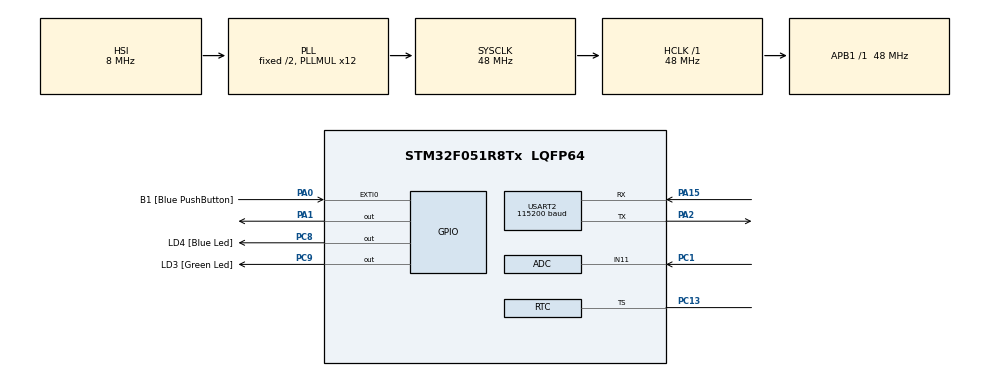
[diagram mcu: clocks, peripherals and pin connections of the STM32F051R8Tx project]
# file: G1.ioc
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FREERTOS.Tasks01=defaultTask,0,128,StartDefaultTask,Default,NULL,Dynamic,NULL,NULL;commsTask,-3,128,StartCommsTask,Default,NULL,Dynamic,NULL,NULL
Mcu.Family=STM32F0
Mcu.Name=STM32F051R8Tx
Mcu.Package=LQFP64
PA0.GPIO_Label=B1 [Blue PushButton]
PA0.GPIO_ModeDefaultEXTI=GPIO_MODE_EVT_RISING
PA0.Signal=GPXTI0
PA1.Signal=GPIO_Output
PA13.GPIO_Label=SWDIO
PA13.Mode=Serial_Wire
PA13.Signal=SYS_SWDIO
PA14.GPIO_Label=SWCLK
PA14.Mode=Serial_Wire
PA14.Signal=SYS_SWCLK
PA15.Mode=Asynchronous
PA15.Signal=USART2_RX
PA2.Mode=Asynchronous
PA2.Signal=USART2_TX
PC1.Mode=IN11
PC1.Signal=ADC_IN11
PC13.Mode=Timestamp enabled
PC13.Signal=RTC_TS
PC8.GPIO_Label=LD4 [Blue Led]
PC8.Signal=GPIO_Output
PC9.GPIO_Label=LD3 [Green Led]
PC9.Signal=GPIO_Output
ProjectManager.HeapSize=0x200
ProjectManager.StackSize=0x400
ProjectManager.TargetToolchain=STM32CubeIDE
RCC.AHBFreq_Value=48000000
RCC.APB1Freq_Value=48000000
RCC.APB1TimFreq_Value=48000000
RCC.HCLKFreq_Value=48000000
RCC.PLLMUL=RCC_PLL_MUL12
RCC.SYSCLKFreq_VALUE=48000000
RCC.SYSCLKSource=RCC_SYSCLKSOURCE_PLLCLK
RTC.Alarm-Alarm\ A=RTC_ALARM_A
TIM6.Prescaler=47
USART2.BaudRate=115200
USART2.VirtualMode-Asynchronous=VM_ASYNC
VP_FREERTOS_VS_CMSIS_V1.Mode=CMSIS_V1
VP_RTC_VS_RTC_Activate.Mode=RTC_Enabled
VP_RTC_VS_RTC_Alarm_A_Intern.Mode=Alarm A
VP_RTC_VS_RTC_Calendar.Mode=RTC_Calendar
VP_TIM6_VS_ClockSourceINT.Mode=Enable_Timer
board=STM32F0DISCOVERY

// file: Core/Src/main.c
/* USER CODE BEGIN Header */
/**
  ******************************************************************************
  * @file           : main.c
  * @brief          : Main program body
  ******************************************************************************
  * @attention
  *
  * Copyright (c) 2024 STMicroelectronics.
  * All rights reserved.
  *
  * This software is licensed under terms that can be found in the LICENSE file
  * in the root directory of this software component.
  * If no LICENSE file comes with this software, it is provided AS-IS.
  *
  ******************************************************************************
  */
/* USER CODE END Header */
#include "main.h"
#include "cmsis_os.h"

/* USER CODE BEGIN Includes */
#include "comms.h"
#include "stdio.h"
/* USER CODE END Includes */

ADC_HandleTypeDef hadc;

RTC_HandleTypeDef hrtc;

TIM_HandleTypeDef htim6;

UART_HandleTypeDef huart2;

osThreadId defaultTaskHandle;
osThreadId commsTaskHandle;

void SystemClock_Config(void);
static void MX_GPIO_Init(void);
static void MX_TIM6_Init(void);
static void MX_USART2_UART_Init(void);
static void MX_ADC_Init(void);
static void MX_RTC_Init(void);
void StartDefaultTask(void const * argument);
void StartCommsTask(void const * argument);

/* USER CODE BEGIN 0 */
char message[60];
uint16_t ADC_VAL[4];

// ######################## DHT11 ########################

void ADC_Select_Water_Level(void){
	ADC_ChannelConfTypeDef sConfig = {0};
	sConfig.Channel = ADC_CHANNEL_11;
	sConfig.Rank = 1;
	sConfig.SamplingTime = ADC_SAMPLETIME_1CYCLE_5;
	if (HAL_ADC_ConfigChannel(&hadc, &sConfig) != HAL_OK)
	{
		Error_Handler();
	}
}

void ADC_Select_Water_Temperature(void){
	ADC_ChannelConfTypeDef sConfig = {0};
	sConfig.Channel = ADC_CHANNEL_12;
	sConfig.Rank = 1;
	sConfig.SamplingTime = ADC_SAMPLETIME_1CYCLE_5;
	if (HAL_ADC_ConfigChannel(&hadc, &sConfig) != HAL_OK)
	{
		Error_Handler();
	}
}

void ADC_Select_Ambient_Light(void){
	ADC_ChannelConfTypeDef sConfig = {0};
	sConfig.Channel = ADC_CHANNEL_13;
	sConfig.Rank = 1;
	sConfig.SamplingTime = ADC_SAMPLETIME_1CYCLE_5;
	if (HAL_ADC_ConfigChannel(&hadc, &sConfig) != HAL_OK)
	{
		Error_Handler();
	}
}

/* USER CODE END 0 */

int main(void)
{

  /* MCU Configuration--------------------------------------------------------*/

  /* Reset of all peripherals, Initializes the Flash interface and the Systick. */
  HAL_Init();

  /* Configure the system clock */
  SystemClock_Config();

  /* Initialize all configured peripherals */
  MX_GPIO_Init();
  MX_TIM6_Init();
  MX_USART2_UART_Init();
  MX_ADC_Init();
  MX_RTC_Init();
  /* USER CODE BEGIN 2 */
  HAL_TIM_Base_Start(&htim6);

  /* USER CODE END 2 */

  /* Create the thread(s) */
  /* definition and creation of defaultTask */
  osThreadDef(defaultTask, StartDefaultTask, osPriorityNormal, 0, 128);
  defaultTaskHandle = osThreadCreate(osThread(defaultTask), NULL);

  /* definition and creation of commsTask */
  osThreadDef(commsTask, StartCommsTask, osPriorityIdle, 0, 128);
  commsTaskHandle = osThreadCreate(osThread(commsTask), NULL);

  /* Start scheduler */
  osKernelStart();

  /* We should never get here as control is now taken by the scheduler */

  /* Infinite loop */
  while (1)
  {

  }
}

void SystemClock_Config(void)
{
  RCC_OscInitTypeDef RCC_OscInitStruct = {0};
  RCC_ClkInitTypeDef RCC_ClkInitStruct = {0};
  RCC_PeriphCLKInitTypeDef PeriphClkInit = {0};

  /** Initializes the RCC Oscillators according to the specified parameters
  * in the RCC_OscInitTypeDef structure.
  */
  RCC_OscInitStruct.OscillatorType = RCC_OSCILLATORTYPE_HSI|RCC_OSCILLATORTYPE_HSI14
                              |RCC_OSCILLATORTYPE_LSI;
  RCC_OscInitStruct.HSIState = RCC_HSI_ON;
  RCC_OscInitStruct.HSI14State = RCC_HSI14_ON;
  RCC_OscInitStruct.HSICalibrationValue = RCC_HSICALIBRATION_DEFAULT;
  RCC_OscInitStruct.HSI14CalibrationValue = 16;
  RCC_OscInitStruct.LSIState = RCC_LSI_ON;
  RCC_OscInitStruct.PLL.PLLState = RCC_PLL_ON;
  RCC_OscInitStruct.PLL.PLLSource = RCC_PLLSOURCE_HSI;
  RCC_OscInitStruct.PLL.PLLMUL = RCC_PLL_MUL12;
  RCC_OscInitStruct.PLL.PREDIV = RCC_PREDIV_DIV1;
  if (HAL_RCC_OscConfig(&RCC_OscInitStruct) != HAL_OK)
  {
    Error_Handler();
  }

  /** Initializes the CPU, AHB and APB buses clocks
  */
  RCC_ClkInitStruct.ClockType = RCC_CLOCKTYPE_HCLK|RCC_CLOCKTYPE_SYSCLK
                              |RCC_CLOCKTYPE_PCLK1;
  RCC_ClkInitStruct.SYSCLKSource = RCC_SYSCLKSOURCE_PLLCLK;
  RCC_ClkInitStruct.AHBCLKDivider = RCC_SYSCLK_DIV1;
  RCC_ClkInitStruct.APB1CLKDivider = RCC_HCLK_DIV1;

  if (HAL_RCC_ClockConfig(&RCC_ClkInitStruct, FLASH_LATENCY_1) != HAL_OK)
  {
    Error_Handler();
  }
  PeriphClkInit.PeriphClockSelection = RCC_PERIPHCLK_RTC;
  PeriphClkInit.RTCClockSelection = RCC_RTCCLKSOURCE_LSI;
  if (HAL_RCCEx_PeriphCLKConfig(&PeriphClkInit) != HAL_OK)
  {
    Error_Handler();
  }
}

static void MX_ADC_Init(void)
{

  ADC_ChannelConfTypeDef sConfig = {0};

  /** Configure the global features of the ADC (Clock, Resolution, Data Alignment and number of conversion)
  */
  hadc.Instance = ADC1;
  hadc.Init.ClockPrescaler = ADC_CLOCK_ASYNC_DIV1;
  hadc.Init.Resolution = ADC_RESOLUTION_12B;
  hadc.Init.DataAlign = ADC_DATAALIGN_RIGHT;
  hadc.Init.ScanConvMode = ADC_SCAN_DIRECTION_FORWARD;
  hadc.Init.EOCSelection = ADC_EOC_SINGLE_CONV;
  hadc.Init.LowPowerAutoWait = DISABLE;
  hadc.Init.LowPowerAutoPowerOff = DISABLE;
  hadc.Init.ContinuousConvMode = DISABLE;
  hadc.Init.DiscontinuousConvMode = DISABLE;
  hadc.Init.ExternalTrigConv = ADC_SOFTWARE_START;
  hadc.Init.ExternalTrigConvEdge = ADC_EXTERNALTRIGCONVEDGE_NONE;
  hadc.Init.DMAContinuousRequests = DISABLE;
  hadc.Init.Overrun = ADC_OVR_DATA_PRESERVED;
  if (HAL_ADC_Init(&hadc) != HAL_OK)
  {
    Error_Handler();
  }

  /** Configure for the selected ADC regular channel to be converted.
  */
  sConfig.Channel = ADC_CHANNEL_11;
  sConfig.Rank = ADC_RANK_CHANNEL_NUMBER;
  sConfig.SamplingTime = ADC_SAMPLETIME_1CYCLE_5;
  if (HAL_ADC_ConfigChannel(&hadc, &sConfig) != HAL_OK)
  {
    Error_Handler();
  }

}

static void MX_RTC_Init(void)
{

  RTC_TimeTypeDef sTime = {0};
  RTC_DateTypeDef sDate = {0};
  RTC_AlarmTypeDef sAlarm = {0};

  /** Initialize RTC Only
  */
  hrtc.Instance = RTC;
  hrtc.Init.HourFormat = RTC_HOURFORMAT_24;
  hrtc.Init.AsynchPrediv = 127;
  hrtc.Init.SynchPrediv = 255;
  hrtc.Init.OutPut = RTC_OUTPUT_DISABLE;
  hrtc.Init.OutPutPolarity = RTC_OUTPUT_POLARITY_HIGH;
  hrtc.Init.OutPutType = RTC_OUTPUT_TYPE_OPENDRAIN;
  if (HAL_RTC_Init(&hrtc) != HAL_OK)
  {
    Error_Handler();
  }

  /** Initialize RTC and set the Time and Date
  */
  sTime.Hours = 0x0;
  sTime.Minutes = 0x0;
  sTime.Seconds = 0x0;
  sTime.DayLightSaving = RTC_DAYLIGHTSAVING_NONE;
  sTime.StoreOperation = RTC_STOREOPERATION_RESET;
  if (HAL_RTC_SetTime(&hrtc, &sTime, RTC_FORMAT_BCD) != HAL_OK)
  {
    Error_Handler();
  }
  sDate.WeekDay = RTC_WEEKDAY_MONDAY;
  sDate.Month = RTC_MONTH_JANUARY;
  sDate.Date = 0x1;
  sDate.Year = 0x0;

  if (HAL_RTC_SetDate(&hrtc, &sDate, RTC_FORMAT_BCD) != HAL_OK)
  {
    Error_Handler();
  }

  /** Enable the Alarm A
  */
  sAlarm.AlarmTime.Hours = 0x0;
  sAlarm.AlarmTime.Minutes = 0x0;
  sAlarm.AlarmTime.Seconds = 0x0;
  sAlarm.AlarmTime.SubSeconds = 0x0;
  sAlarm.AlarmTime.DayLightSaving = RTC_DAYLIGHTSAVING_NONE;
  sAlarm.AlarmTime.StoreOperation = RTC_STOREOPERATION_RESET;
  sAlarm.AlarmMask = RTC_ALARMMASK_NONE;
  sAlarm.AlarmSubSecondMask = RTC_ALARMSUBSECONDMASK_ALL;
  sAlarm.AlarmDateWeekDaySel = RTC_ALARMDATEWEEKDAYSEL_DATE;
  sAlarm.AlarmDateWeekDay = 0x1;
  sAlarm.Alarm = RTC_ALARM_A;
  if (HAL_RTC_SetAlarm(&hrtc, &sAlarm, RTC_FORMAT_BCD) != HAL_OK)
  {
    Error_Handler();
  }

  /** Enable the TimeStamp
  */
  if (HAL_RTCEx_SetTimeStamp(&hrtc, RTC_TIMESTAMPEDGE_RISING, RTC_TIMESTAMPPIN_DEFAULT) != HAL_OK)
  {
    Error_Handler();
  }

}

static void MX_TIM6_Init(void)
{

  TIM_MasterConfigTypeDef sMasterConfig = {0};

  htim6.Instance = TIM6;
  htim6.Init.Prescaler = 47;
  htim6.Init.CounterMode = TIM_COUNTERMODE_UP;
  htim6.Init.Period = 65535;
  htim6.Init.AutoReloadPreload = TIM_AUTORELOAD_PRELOAD_DISABLE;
  if (HAL_TIM_Base_Init(&htim6) != HAL_OK)
  {
    Error_Handler();
  }
  sMasterConfig.MasterOutputTrigger = TIM_TRGO_RESET;
  sMasterConfig.MasterSlaveMode = TIM_MASTERSLAVEMODE_DISABLE;
  if (HAL_TIMEx_MasterConfigSynchronization(&htim6, &sMasterConfig) != HAL_OK)
  {
    Error_Handler();
  }

}

static void MX_USART2_UART_Init(void)
{

  huart2.Instance = USART2;
  huart2.Init.BaudRate = 115200;
  huart2.Init.WordLength = UART_WORDLENGTH_8B;
  huart2.Init.StopBits = UART_STOPBITS_1;
  huart2.Init.Parity = UART_PARITY_NONE;
  huart2.Init.Mode = UART_MODE_TX_RX;
  huart2.Init.HwFlowCtl = UART_HWCONTROL_NONE;
  huart2.Init.OverSampling = UART_OVERSAMPLING_16;
  huart2.Init.OneBitSampling = UART_ONE_BIT_SAMPLE_DISABLE;
  huart2.AdvancedInit.AdvFeatureInit = UART_ADVFEATURE_NO_INIT;
  if (HAL_UART_Init(&huart2) != HAL_OK)
  {
    Error_Handler();
  }

}

static void MX_GPIO_Init(void)
{
  GPIO_InitTypeDef GPIO_InitStruct = {0};

  /* GPIO Ports Clock Enable */
  __HAL_RCC_GPIOC_CLK_ENABLE();
  __HAL_RCC_GPIOA_CLK_ENABLE();

  /*Configure GPIO pin Output Level */
  HAL_GPIO_WritePin(GPIOA, GPIO_PIN_1, GPIO_PIN_RESET);

  /*Configure GPIO pin Output Level */
  HAL_GPIO_WritePin(GPIOC, LD4_Pin|LD3_Pin, GPIO_PIN_RESET);

  /*Configure GPIO pin : B1_Pin */
  GPIO_InitStruct.Pin = B1_Pin;
  GPIO_InitStruct.Mode = GPIO_MODE_EVT_RISING;
  GPIO_InitStruct.Pull = GPIO_NOPULL;
  HAL_GPIO_Init(B1_GPIO_Port, &GPIO_InitStruct);

  /*Configure GPIO pin : PA1 */
  GPIO_InitStruct.Pin = GPIO_PIN_1;
  GPIO_InitStruct.Mode = GPIO_MODE_OUTPUT_PP;
  GPIO_InitStruct.Pull = GPIO_NOPULL;
  GPIO_InitStruct.Speed = GPIO_SPEED_FREQ_LOW;
  HAL_GPIO_Init(GPIOA, &GPIO_InitStruct);

  /*Configure GPIO pins : LD4_Pin LD3_Pin */
  GPIO_InitStruct.Pin = LD4_Pin|LD3_Pin;
  GPIO_InitStruct.Mode = GPIO_MODE_OUTPUT_PP;
  GPIO_InitStruct.Pull = GPIO_NOPULL;
  GPIO_InitStruct.Speed = GPIO_SPEED_FREQ_LOW;
  HAL_GPIO_Init(GPIOC, &GPIO_InitStruct);

}

void StartDefaultTask(void const * argument)
{
  for(;;)
  {
    osDelay(1);
  }
}

void StartCommsTask(void const * argument)
{
  /* USER CODE BEGIN StartCommsTask */
	comms_init(&huart2);
	HAL_GPIO_WritePin(LD3_GPIO_Port, LD3_Pin, 1);
	uint8_t data[2] = {10, 0};
	comms_packet_t packet;
	comms_create_packet(&packet, SYSTEM_COMMAND_PACKET, 1, data);
	comms_send_packet(&packet);
  /* Infinite loop */
  for(;;)
  {
	  comms_state_machine();
	  if(!comms_buffer_is_empty()){
		  HAL_GPIO_WritePin(LD4_GPIO_Port, LD4_Pin, 1);
		  packet = comms_buffer_read();
	  }
	  HAL_GPIO_WritePin(LD4_GPIO_Port, LD4_Pin, 0);
  }
  /* USER CODE END StartCommsTask */
}

void Error_Handler(void)
{
  __disable_irq();
  while (1)
  {
  }
}
